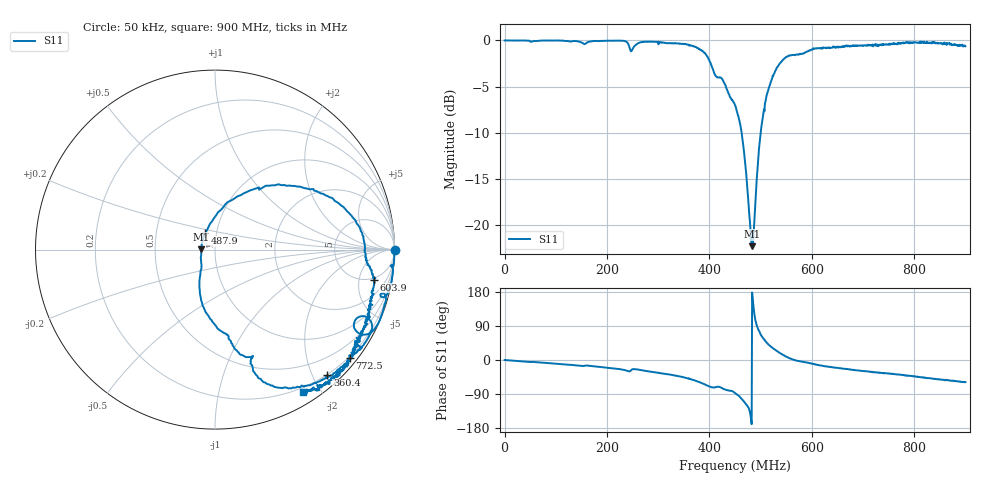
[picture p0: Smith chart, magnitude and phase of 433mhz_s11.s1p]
# Hz S RI R 50
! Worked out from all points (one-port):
!   1010 points, 50 kHz to 900 MHz, reference 50 ohm
!   lowest |S11| = -22.2 dB at 483.5 MHz (marker M1), VSWR 1.17, Z = 42.8 + j0.227 ohm
!   |S11| at or under -10 dB: 463 MHz to 500.1 MHz (37.08 MHz wide, 7.7 % of centre)
!   S11 on the Smith chart (normalised r, x): 50 kHz: open; 360.4 MHz: 0.19, -2.22; 487.9 MHz: 0.88, +0.17; 603.9 MHz: 4.62, -8.07; 772.5 MHz: 0.16, -2.82; 900 MHz: 0.15, -1.78
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50000  1 -9.89e-05
1.13324e8  0.9785 -0.1978
1.623797e8  0.9471 -0.2498
2.257061e8  0.9099 -0.4102
2.399769e8  0.852 -0.4702
2.462203e8  0.7736 -0.4141
2.533557e8  0.8494 -0.3809
2.756539e8  0.8614 -0.4739
3.380883e8  0.7145 -0.6478
3.603865e8  0.6262 -0.6998
3.942794e8  0.3309 -0.7652
4.067663e8  0.2114 -0.6668
4.201452e8  0.2026 -0.5998
4.504706e8  0.0179 -0.4429
4.647413e8  -0.0774 -0.2828
4.799039e8  -0.0774 -0.0601
4.834716e8  -0.0772 0.00263
4.879312e8  -0.0541 0.093
4.995262e8  0.1086 0.285
5.12905e8  0.3708 0.3587
5.369869e8  0.7065 0.243
5.503659e8  0.8061 0.1243
5.628528e8  0.8346 0.0199
6.038811e8  0.8838 -0.1669
6.752348e8  0.8393 -0.4025
7.724543e8  0.7506 -0.6053
7.87617e8  0.7257 -0.6457
8.999992e8  0.4884 -0.792
